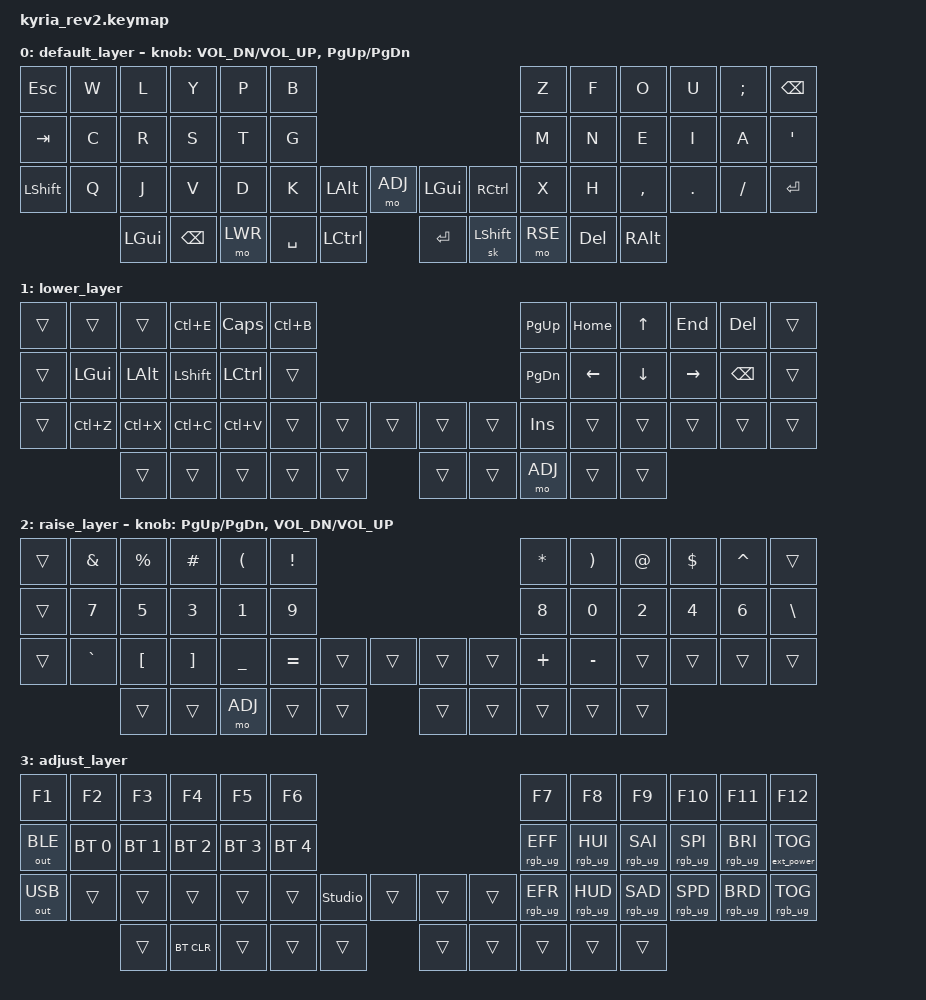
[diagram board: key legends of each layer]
/*
 * Copyright (c) 2020 The ZMK Contributors
 *
 * SPDX-License-Identifier: MIT
 */

#include <behaviors.dtsi>
#include <dt-bindings/zmk/bt.h>
#include <dt-bindings/zmk/keys.h>
#include <dt-bindings/zmk/rgb.h>
#include <dt-bindings/zmk/ext_power.h>
#include <dt-bindings/zmk/outputs.h>

#define DEFAULT 0
#define LWR 1
#define RSE 2
#define ADJ 3

/ {
    keymap {
        compatible = "zmk,keymap";

		default_layer {
			bindings = <
	&kp ESC   &kp W  &kp L   &kp Y  &kp P  &kp B                                               &kp Z   &kp F  &kp O     &kp U     &kp SEMI &kp BSPC
	&kp TAB   &kp C  &kp R   &kp S  &kp T  &kp G                                               &kp M   &kp N  &kp E     &kp I     &kp A    &kp SQT
	&kp LSHFT &kp Q  &kp J   &kp V  &kp D  &kp K &kp LALT  &mo ADJ         &kp LGUI  &kp RCTRL &kp X   &kp H  &kp COMMA &kp DOT   &kp FSLH &kp RET
	                 &kp LGUI &kp BSPC &mo LWR   &kp SPACE &kp LCTRL       &kp RET   &sk LSHFT  &mo RSE  &kp DEL &kp RALT
			>;

			sensor-bindings = <&inc_dec_kp C_VOL_DN C_VOL_UP &inc_dec_kp PG_UP PG_DN>;
		};

           lower_layer {
                  bindings = <
    &trans  &trans    &trans    &kp LC(E) &kp CAPS  &kp LC(B)                       		&kp PG_UP &kp HOME  &kp UP    &kp END   &kp DEL  &trans
    &trans  &kp LGUI  &kp LALT  &kp LSHFT &kp LCTRL &trans                                  &kp PG_DN &kp LEFT  &kp DOWN  &kp RIGHT &kp BSPC &trans
    &trans  &kp LC(Z) &kp LC(X) &kp LC(C) &kp LC(V) &trans &trans &trans    &trans &trans   &kp INS   &trans    &trans    &trans    &trans   &trans
                                &trans    &trans    &trans &trans &trans    &trans &trans   &mo ADJ   &trans    &trans    
                  >;
           };
	  
           raise_layer {
                  bindings = <
    &trans   &kp AMPS  &kp PRCNT &kp HASH &kp LPAR  &kp EXCL                                  &kp ASTRK &kp RPAR  &kp AT   &kp DLLR  &kp CARET &trans
    &trans   &kp N7    &kp N5    &kp N3   &kp N1    &kp N9                                    &kp N8    &kp N0    &kp N2   &kp N4    &kp N6    &kp BSLH
    &trans   &kp GRAVE &kp LBKT  &kp RBKT &kp UNDER &kp EQUAL &trans &trans    &trans &trans  &kp PLUS  &kp MINUS &trans    &trans   &trans    &trans
                                &trans    &trans    &mo ADJ   &trans &trans    &trans &trans  &trans    &trans    &trans  
                  >;
				  
			sensor-bindings = <&inc_dec_kp PG_UP PG_DN &inc_dec_kp C_VOL_DN C_VOL_UP>;				  
           };
	  
           adjust_layer {
                  bindings = <
    &kp F1       &kp F2       &kp F3       &kp F4       &kp F5       &kp F6                                            &kp F7   &kp F8   &kp F9    &kp F10  &kp F11  &kp F12
    &out OUT_BLE &bt BT_SEL 0 &bt BT_SEL 1 &bt BT_SEL 2 &bt BT_SEL 3 &bt BT_SEL 4                                      &rgb_ug RGB_EFF &rgb_ug RGB_HUI &rgb_ug RGB_SAI &rgb_ug RGB_SPI &rgb_ug RGB_BRI &ext_power EP_TOG
    &out OUT_USB &trans       &trans       &trans       &trans       &trans   &studio_unlock &trans    &trans &trans   &rgb_ug RGB_EFR &rgb_ug RGB_HUD &rgb_ug RGB_SAD &rgb_ug RGB_SPD &rgb_ug RGB_BRD &rgb_ug RGB_TOG
                                           &trans       &bt BT_CLR   &trans   &trans         &trans    &trans &trans   &trans   &trans   &trans 

                     >;
              };
       };
};
